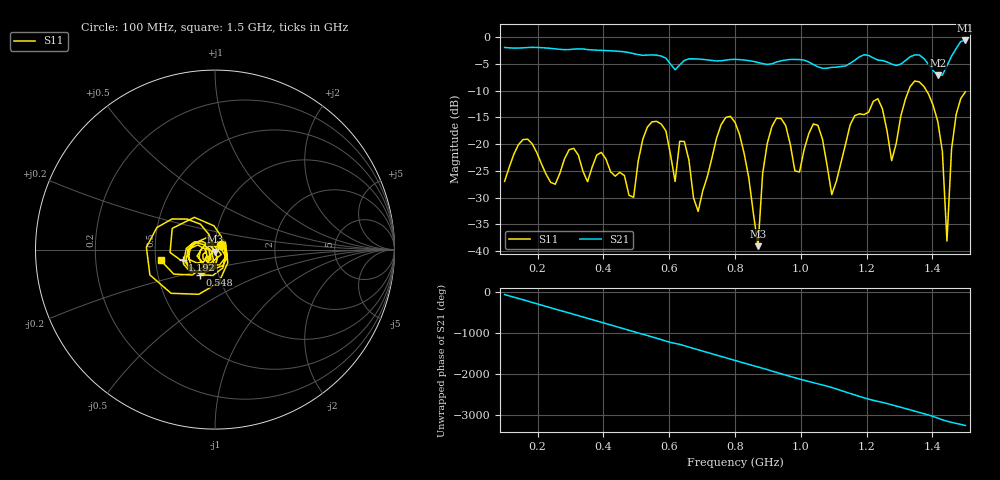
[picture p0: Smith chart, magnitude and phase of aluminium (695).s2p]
! NanoVNA-App
! Date: 2025-09-25 15:00:41
! Start: 100MHz Stop: 1,5GHz Points: 101
! S-Parameter data: F S11 S21 S12 S22
# Hz S RI R 50
!  Frequency  S11_Real  S11_Imag  S21_Real  S21_Imag  S12_Real  S12_Imag  S22_Real  S22_Imag
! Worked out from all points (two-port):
!   101 points, 100 MHz to 1.5 GHz, reference 50 ohm
!   highest |S21| = -0.60 dB at 1.5 GHz (marker M1); lowest = -7.1 dB at 1.416 GHz (marker M2)
!   |S21| within 3 dB of the highest: start of sweep to 578.7 MHz; 1.457 GHz to end of sweep (the widest 2 of 4)
!   lowest |S11| = -39.1 dB at 870 MHz (marker M3), VSWR 1.02, Z = 50.2 - j1.1 ohm
!   |S11| at or under -10 dB: start of sweep to 1.327 GHz; 1.382 GHz to end of sweep
!   S12 and S22 are empty: the file has one direction only
!   S11 on the Smith chart (normalised r, x): 100 MHz: 1.07, +0.06; 548 MHz: 0.82, -0.23; 1.192 GHz: 0.69, -0.08; 1.5 GHz: 0.53, -0.07
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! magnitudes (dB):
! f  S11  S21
! 100 MHz  -27.0  -1.9
! 156 MHz  -19.1  -2.0
! 338 MHz  -25.1  -2.2
! 492 MHz  -29.9  -3.1
! 548 MHz  -15.8  -3.3
! 576 MHz  -16.2  -3.5
! 646 MHz  -19.5  -4.3
! 688 MHz  -32.6  -4.1
! 800 MHz  -15.9  -4.1
! 870 MHz  -39.1  -4.7
! 912 MHz  -16.7  -5.0
! 996 MHz  -25.2  -4.2
! 1.038 GHz  -16.2  -5.1
! 1.094 GHz  -29.4  -5.6
! 1.192 GHz  -14.5  -3.3
! 1.234 GHz  -11.5  -4.3
! 1.276 GHz  -23.1  -5.0
! 1.346 GHz  -8.2  -3.3
! 1.416 GHz  -15.7  -7.1
! 1.444 GHz  -38.1  -5.4
! 1.458 GHz  -20.9  -3.5
! 1.5 GHz  -10.2  -0.6
